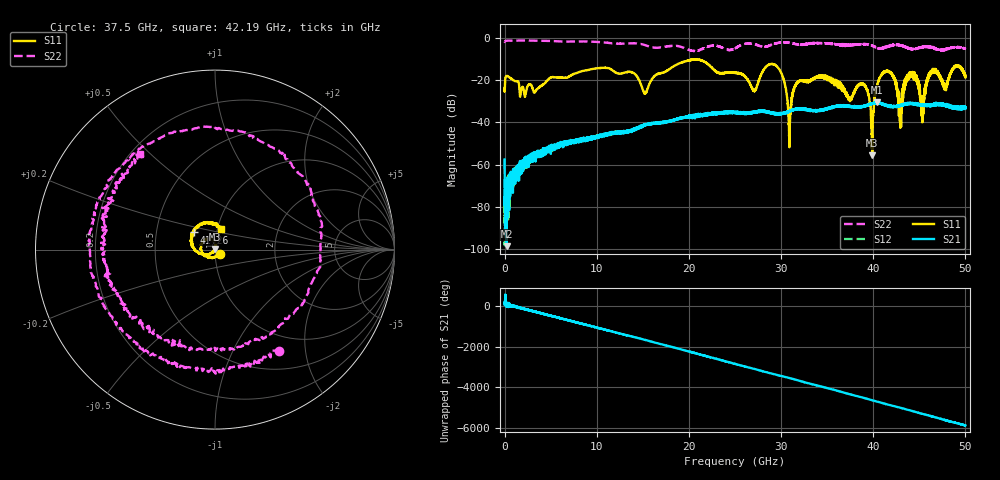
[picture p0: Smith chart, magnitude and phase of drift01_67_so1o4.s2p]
!Created with skrf (http://scikit-rf.org).
# Hz S RI R 50.0
!freq ReS11 ImS11 ReS21 ImS21 ReS12 ImS12 ReS22 ImS22
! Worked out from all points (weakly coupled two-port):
!   10001 points, 300 kHz to 50 GHz, reference 50 ohm
!   highest |S21| = -30.57 dB at 40.44 GHz (marker M1); lowest = -98.5 dB at 215.3 MHz (marker M2)
!   lowest |S11| = -55.5 dB at 39.89 GHz (marker M3), VSWR 1.00, Z = 49.8 + j0.0684 ohm
!   |S11| at or under -10 dB: start of sweep to end of sweep
!   |S22| runs from -6.4 to -1.4 dB; largest |S21 - S12| = 0.0045
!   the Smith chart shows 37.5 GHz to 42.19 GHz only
!   S11 on the Smith chart (normalised r, x): 37.5 GHz: 1.05, -0.05; 41.26 GHz: 0.78, +0.15; 42.19 GHz: 1.04, +0.24
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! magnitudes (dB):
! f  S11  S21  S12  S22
! 300 kHz  -24.0  -57.6  -67.0  -2.0
! 215.3 MHz  -18.1  -98.5  -73.8  -1.4
! 8.335 GHz  -15.9  -47.8  -49.0  -1.8
! 16.67 GHz  -17.1  -40.3  -40.3  -4.8
! 25 GHz  -16.6  -35.5  -35.3  -5.1
! 27.09 GHz  -25.1  -35.2  -35.0  -3.1
! 29.44 GHz  -13.2  -35.9  -35.7  -2.7
! 30.91 GHz  -49.9  -34.5  -34.8  -2.5
! 31.67 GHz  -21.8  -33.6  -33.7  -3.2
! 33.34 GHz  -19.8  -34.2  -34.4  -2.7
! 37.5 GHz  -29.1  -32.3  -32.5  -3.5
! 38.97 GHz  -22.3  -32.5  -32.4  -3.1
! 39.89 GHz  -55.5  -31.0  -31.1  -3.8
! 40.44 GHz  -22.4  -30.6  -30.9  -4.9
! 41.26 GHz  -16.4  -31.6  -31.7  -4.6
! 41.67 GHz  -15.8  -32.1  -32.3  -4.0
! 42.19 GHz  -18.4  -32.5  -32.2  -3.4
! 42.95 GHz  -33.5  -32.1  -32.0  -3.5
! 44.05 GHz  -16.8  -30.8  -31.3  -5.3
! 45.32 GHz  -38.6  -32.1  -31.9  -4.5
! 46.42 GHz  -15.7  -32.2  -31.9  -4.8
! 50 GHz  -17.9  -33.4  -33.3  -5.3
